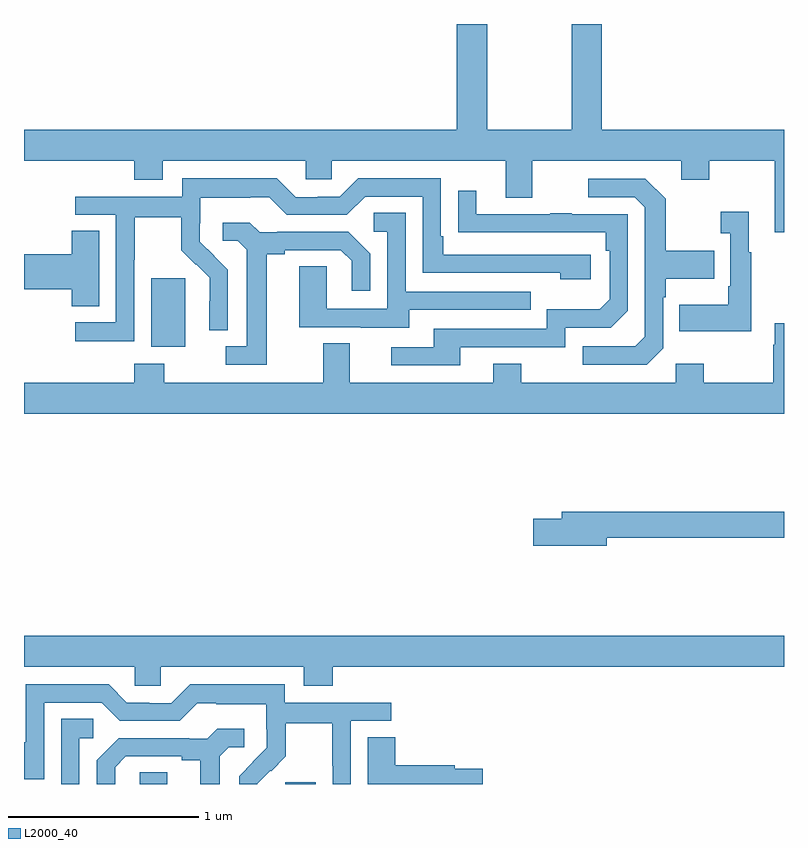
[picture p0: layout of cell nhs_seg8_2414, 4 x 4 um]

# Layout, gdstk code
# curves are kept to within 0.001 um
import gdstk
lib = gdstk.Library(unit=1e-6, precision=1e-09)
def R(c, l, rs):  # rectangles x0, y0, x1, y1
    for r in rs: c.add(gdstk.rectangle(r[:2], r[2:], *l))
def P(c, l, *ps):  # polygons
    for p in ps: c.add(gdstk.Polygon(p, *l))
L2000_40 = (2000, 40)

nhs_seg8_2414 = lib.new_cell('nhs_seg8_2414')
R(nhs_seg8_2414, L2000_40, [(263.61,1099.9,263.755,1099.961), (264.374,1099.9,264.535,1099.909), (263.669,1102.202,263.848,1102.563)])
P(nhs_seg8_2414, L2000_40, [(267,1103.344),(266.042,1103.344),(266.042,1103.9),(265.882,1103.9),(265.882,1103.344),(265.437,1103.344),(265.437,1103.9),(265.277,1103.9),(265.277,1103.344),(263,1103.344),(263,1103.18),(263.579,1103.18),(263.579,1103.081),(263.731,1103.081),(263.731,1103.18),(264.483,1103.18),(264.483,1103.082),(264.621,1103.082),(264.621,1103.18),(265.535,1103.18),(265.535,1102.986),(265.675,1102.986),(265.675,1103.18),(266.459,1103.18),(266.459,1103.081),(266.607,1103.081),(266.607,1103.18),(266.951,1103.18),(266.951,1102.803),(267,1102.803)],
  [(263.58,1102.66),(263.583,1102.66),(263.583,1102.884),(263.827,1102.884),(263.827,1102.709),(263.904,1102.632),(263.907,1102.635),(263.978,1102.565),(263.978,1102.442),(263.976,1102.442),(263.976,1102.288),(264.072,1102.288),(264.072,1102.606),(263.926,1102.754),(263.926,1102.851),(263.928,1102.851),(263.928,1102.985),(264.191,1102.985),(264.191,1102.989),(264.291,1102.989),(264.384,1102.896),(264.699,1102.896),(264.795,1102.992),(265.098,1102.992),(265.098,1102.59),(265.823,1102.59),(265.823,1102.556),(265.984,1102.556),(265.984,1102.686),(265.207,1102.686),(265.207,1102.783),(265.194,1102.783),(265.194,1103.088),(264.759,1103.088),(264.663,1102.992),(264.545,1102.992),(264.545,1102.989),(264.429,1102.989),(264.329,1103.089),(263.832,1103.089),(263.832,1102.992),(263.271,1102.992),(263.271,1102.896),(263.484,1102.896),(263.484,1102.329),(263.271,1102.329),(263.271,1102.231),(263.58,1102.231)],
  [(266.364,1102.194),(266.364,1102.463),(266.377,1102.463),(266.377,1102.559),(266.633,1102.559),(266.633,1102.707),(266.377,1102.707),(266.377,1102.979),(266.271,1103.085),(265.971,1103.085),(265.971,1102.989),(266.214,1102.989),(266.268,1102.935),(266.268,1102.254),(266.217,1102.203),(265.941,1102.203),(265.941,1102.107),(266.277,1102.107)],
  [(265.297,1102.2),(265.848,1102.2),(265.848,1102.302),(266.088,1102.302),(266.178,1102.392),(266.178,1102.899),(265.883,1102.899),(265.883,1102.904),(265.771,1102.904),(265.771,1102.899),(265.381,1102.899),(265.381,1103.023),(265.285,1103.023),(265.285,1102.804),(266.062,1102.803),(266.062,1102.706),(266.082,1102.706),(266.082,1102.452),(266.029,1102.399),(265.752,1102.399),(265.752,1102.296),(265.157,1102.296),(265.157,1102.2),(264.933,1102.2),(264.933,1102.104),(265.297,1102.104)],
  [(266.827,1102.699),(266.815,1102.699),(266.815,1102.912),(266.667,1102.912),(266.667,1102.799),(266.718,1102.799),(266.718,1102.519),(266.706,1102.519),(266.706,1102.423),(266.449,1102.423),(266.449,1102.283),(266.827,1102.283)],
  [(265.027,1102.395),(265.667,1102.395),(265.667,1102.491),(265.008,1102.491),(265.008,1102.907),(264.84,1102.907),(264.84,1102.806),(264.912,1102.806),(264.912,1102.401),(264.594,1102.401),(264.594,1102.625),(264.449,1102.625),(264.449,1102.305),(264.773,1102.305),(264.773,1102.301),(265.027,1102.301)],
  [(264.277,1102.688),(264.373,1102.688),(264.373,1102.71),(264.668,1102.71),(264.725,1102.653),(264.725,1102.497),(264.822,1102.497),(264.822,1102.69),(264.706,1102.806),(264.334,1102.806),(264.334,1102.803),(264.24,1102.803),(264.188,1102.855),(264.045,1102.855),(264.045,1102.758),(264.126,1102.758),(264.173,1102.711),(264.173,1102.203),(264.063,1102.203),(264.063,1102.107),(264.277,1102.107)],
  [(263.395,1102.811),(263.252,1102.811),(263.252,1102.688),(263,1102.688),(263,1102.505),(263.252,1102.505),(263.252,1102.414),(263.395,1102.414)],
  [(267,1102.324),(266.951,1102.324),(266.951,1102.211),(266.944,1102.211),(266.944,1102.012),(266.577,1102.012),(266.577,1102.111),(266.43,1102.111),(266.43,1102.012),(265.617,1102.012),(265.617,1102.111),(265.469,1102.111),(265.469,1102.012),(264.715,1102.012),(264.715,1102.22),(264.575,1102.22),(264.575,1102.012),(263.739,1102.012),(263.739,1102.111),(263.579,1102.111),(263.579,1102.012),(263,1102.012),(263,1101.848),(267,1101.848)],
  [(266.068,1101.196),(267,1101.196),(267,1101.332),(265.829,1101.332),(265.829,1101.296),(265.68,1101.296),(265.68,1101.154),(266.068,1101.154)],
  [(264.626,1100.516),(267,1100.516),(267,1100.68),(263,1100.68),(263,1100.516),(263.583,1100.516),(263.583,1100.418),(263.721,1100.418),(263.721,1100.516),(264.473,1100.516),(264.473,1100.417),(264.626,1100.417)],
  [(264.227,1099.901),(264.297,1099.971),(264.3,1099.968),(264.377,1100.045),(264.377,1100.22),(264.622,1100.22),(264.622,1099.996),(264.624,1099.996),(264.624,1099.9),(264.72,1099.9),(264.72,1100.232),(264.934,1100.232),(264.934,1100.328),(264.372,1100.328),(264.372,1100.425),(263.875,1100.425),(263.775,1100.325),(263.66,1100.325),(263.66,1100.328),(263.541,1100.328),(263.445,1100.424),(263.01,1100.424),(263.01,1100.119),(263,1100.119),(263,1099.926),(263.106,1099.926),(263.106,1100.328),(263.409,1100.328),(263.505,1100.232),(263.82,1100.232),(263.913,1100.325),(264.013,1100.325),(264.013,1100.321),(264.276,1100.321),(264.276,1100.187),(264.278,1100.187),(264.278,1100.09),(264.132,1099.942),(264.132,1099.9)],
  [(263.292,1100.142),(263.365,1100.142),(263.365,1100.243),(263.196,1100.243),(263.196,1099.9),(263.292,1099.9)],
  [(263.479,1099.989),(263.536,1100.046),(263.831,1100.046),(263.831,1100.024),(263.927,1100.024),(263.927,1099.9),(264.031,1099.9),(264.031,1100.047),(264.078,1100.094),(264.16,1100.094),(264.16,1100.191),(264.016,1100.191),(263.964,1100.139),(263.87,1100.139),(263.87,1100.142),(263.498,1100.142),(263.382,1100.026),(263.382,1099.9),(263.479,1099.9)],
  [(265.415,1099.98),(265.268,1099.98),(265.268,1100),(264.953,1100),(264.953,1100.147),(264.809,1100.147),(264.809,1099.9),(265.415,1099.9)])

lib.write_gds('nhs_seg8_2414.gds')
